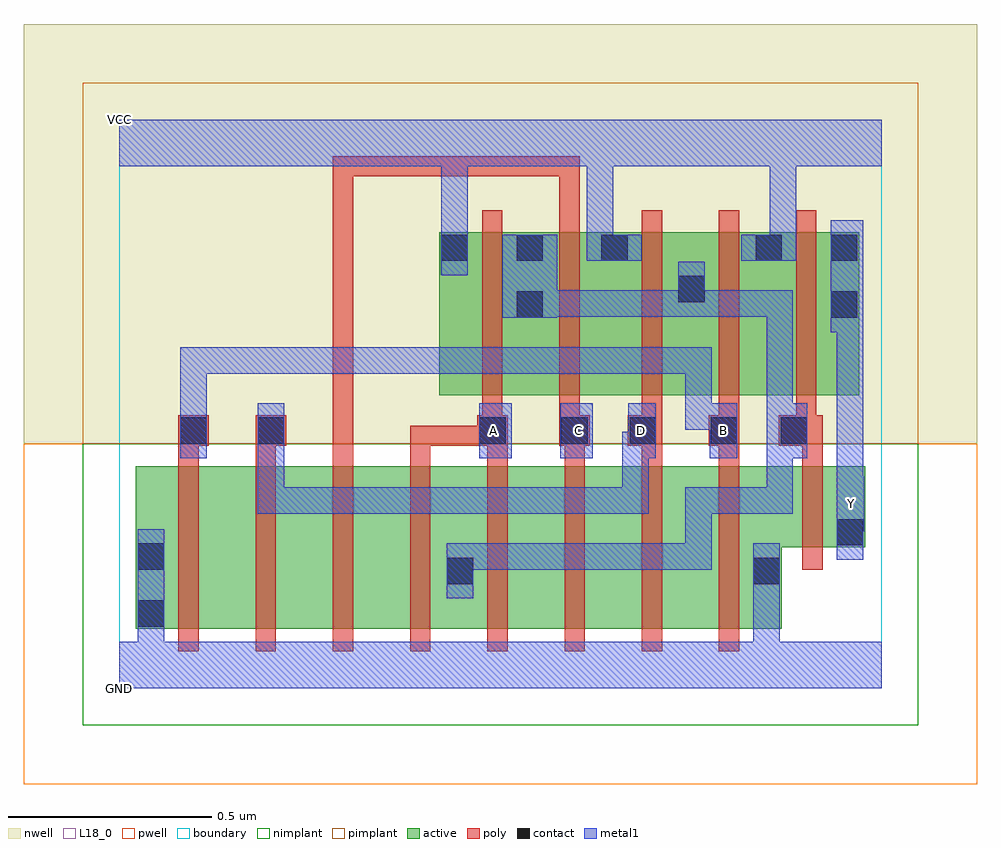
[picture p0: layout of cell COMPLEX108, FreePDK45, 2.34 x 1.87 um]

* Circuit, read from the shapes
.subckt COMPLEX108 A B C D GND VCC Y
M1 n1 B GND VSUBS nfet w=0.4u l=0.05u
M2 n2 D n1 VSUBS nfet w=0.4u l=0.05u
M3 n3 C n2 VSUBS nfet w=0.4u l=0.05u
M4 n4 A n3 VSUBS nfet w=0.4u l=0.05u
M5 n5 A n4 VSUBS nfet w=0.4u l=0.05u
M6 n6 C n5 VSUBS nfet w=0.4u l=0.05u
M7 n7 D n6 VSUBS nfet w=0.4u l=0.05u
M8 GND B n7 VSUBS nfet w=0.4u l=0.05u
M9 Y n4 GND VSUBS nfet w=0.2u l=0.05u
M10 n4 A VCC n8 pfet w=0.4u l=0.05u
M11 VCC C n4 n8 pfet w=0.4u l=0.05u
M12 n4 D VCC n8 pfet w=0.4u l=0.05u
M13 VCC B n4 n8 pfet w=0.4u l=0.05u
M14 Y n4 VCC n8 pfet w=0.4u l=0.05u
.ends

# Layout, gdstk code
import gdstk
lib = gdstk.Library(unit=1e-6, precision=1e-09)
def R(c, l, rs):  # rectangles x0, y0, x1, y1
    for r in rs: c.add(gdstk.rectangle(r[:2], r[2:], *l))
def A(c, l, x, y, w, h, nx, ny, dx, dy):  # array of equal rectangles
    R(c, l, [(x+i*dx, y+j*dy, x+i*dx+w, y+j*dy+h) for i in range(nx) for j in range(ny)])
active = (1, 0)
pwell = (2, 0)
nwell = (3, 0)
nimplant = (4, 0)
pimplant = (5, 0)
poly = (9, 0)
contact = (10, 0)
metal1 = (11, 0)
L18_0 = (18, 0)
boundary = (235, 0)

complex108 = lib.new_cell('COMPLEX108')
R(complex108, active, [(0.04,0.147,0.115,0.547), (0.04,0.147,0.265,0.547), (0.265,0.147,0.455,0.547), (0.455,0.147,0.645,0.547), (0.645,0.147,0.875,0.547), (0.8,0.147,1.025,0.547), (0.8,0.147,0.875,0.492), (1.025,0.147,1.215,0.547), (1.215,0.147,1.405,0.547), (1.405,0.147,1.63,0.547), (1.555,0.147,1.63,0.547), (1.555,0.347,1.835,0.547), (1.76,0.347,1.835,0.547), (0.787,0.722,1.047,1.122), (0.972,0.722,1.255,1.122), (1.18,0.722,1.445,1.122), (1.37,0.722,1.635,1.122), (1.56,0.722,1.82,1.122), (1.745,0.722,1.82,1.122), (0.787,0.782,0.862,1.122), (0.972,0.802,1.047,1.122), (1.37,0.802,1.445,1.122), (1.56,0.862,1.635,1.122), (1.18,0.907,1.255,1.122)])
R(complex108, pwell, [(-0.235,-0.235,2.11,0.602)])
R(complex108, nwell, [(-0.235,0.602,2.11,1.635)])
R(complex108, nimplant, [(-0.09,-0.09,1.965,0.602)])
R(complex108, pimplant, [(-0.09,0.602,1.965,1.49)])
A(complex108, poly, 0.145, 0.092, 0.05, 0.51, 8, 1, 0.19, 0)
A(complex108, poly, 0.715, 0.552, 0.05, 0.095, 5, 1, 0.19, 0)
A(complex108, poly, 1.285, 0.622, 0.05, 0.095, 3, 1, 0.19, 0)
A(complex108, poly, 1.285, 0.667, 0.05, 0.51, 3, 1, 0.19, 0)
R(complex108, poly, [(1.68,0.292,1.73,0.602), (0.145,0.552,0.195,0.647), (0.335,0.552,0.385,0.647), (0.525,0.552,0.575,1.31), (1.68,0.552,1.73,0.647), (0.145,0.597,0.22,0.672), (0.335,0.597,0.41,0.672), (0.715,0.597,0.765,0.647), (0.715,0.597,0.93,0.647), (0.88,0.597,0.955,0.672), (0.88,0.597,0.93,0.647), (0.88,0.597,0.93,0.647), (1.082,0.597,1.157,0.672), (1.25,0.597,1.335,0.672), (1.45,0.597,1.525,0.672), (1.622,0.597,1.73,0.672), (0.892,0.622,0.942,0.717), (1.082,0.622,1.132,0.717), (0.892,0.667,0.942,1.177), (1.082,0.667,1.132,1.177), (1.082,1.127,1.132,1.31), (0.525,1.26,0.575,1.31), (0.525,1.26,0.575,1.31), (0.525,1.26,0.575,1.31), (0.525,1.26,0.575,1.31), (0.525,1.26,0.575,1.31), (0.525,1.26,0.737,1.31), (0.687,1.26,0.737,1.31), (0.687,1.26,0.737,1.31), (0.687,1.26,0.737,1.31), (0.687,1.26,0.737,1.31), (0.687,1.26,0.737,1.31), (0.687,1.26,0.737,1.31), (0.687,1.26,0.737,1.31), (0.687,1.26,0.737,1.31), (0.687,1.26,0.737,1.31), (0.687,1.26,0.897,1.31), (0.847,1.26,0.897,1.31), (0.847,1.26,0.897,1.31), (0.847,1.26,0.897,1.31), (0.847,1.26,1.132,1.31), (1.082,1.26,1.132,1.31), (1.082,1.26,1.132,1.31), (1.082,1.26,1.132,1.31)])
R(complex108, contact, [(0.045,0.152,0.11,0.217), (0.805,0.257,0.87,0.322), (1.56,0.257,1.625,0.322), (0.045,0.292,0.11,0.357), (1.765,0.352,1.83,0.417), (0.15,0.602,0.215,0.667), (0.34,0.602,0.405,0.667), (0.885,0.602,0.95,0.667), (1.087,0.602,1.152,0.667), (1.255,0.602,1.32,0.667), (1.455,0.602,1.52,0.667), (1.627,0.602,1.692,0.667), (0.977,0.912,1.042,0.977), (1.75,0.912,1.815,0.977), (1.375,0.95,1.44,1.015), (0.792,1.052,0.857,1.117), (0.977,1.052,1.042,1.117), (1.185,1.052,1.25,1.117), (1.565,1.052,1.63,1.117), (1.75,1.052,1.815,1.117)])
R(complex108, metal1, [(0,0,1.875,0.115), (0.045,0.05,0.11,0.182), (1.56,0.05,1.625,0.287), (0.045,0.117,0.11,0.392), (0.805,0.222,0.87,0.357), (1.56,0.222,1.625,0.357), (0.805,0.292,0.87,0.357), (0.805,0.292,0.87,0.357), (0.805,0.292,1.007,0.357), (0.942,0.292,1.007,0.357), (0.942,0.292,1.007,0.357), (0.942,0.292,1.007,0.357), (0.942,0.292,1.302,0.357), (1.237,0.292,1.302,0.357), (1.237,0.292,1.302,0.357), (1.237,0.292,1.302,0.357), (1.237,0.292,1.457,0.357), (1.392,0.292,1.457,0.357), (1.392,0.292,1.457,0.495), (1.765,0.317,1.83,0.452), (1.765,0.387,1.83,0.452), (1.765,0.387,1.832,0.522), (0.34,0.43,0.405,0.495), (0.34,0.43,0.405,0.632), (0.34,0.43,0.542,0.495), (0.477,0.43,0.542,0.495), (0.477,0.43,0.542,0.495), (0.477,0.43,0.542,0.495), (0.477,0.43,0.68,0.495), (0.615,0.43,0.68,0.495), (0.615,0.43,0.817,0.495), (0.752,0.43,0.817,0.495), (0.752,0.43,0.817,0.495), (0.752,0.43,0.817,0.495), (0.752,0.43,1.077,0.495), (1.012,0.43,1.077,0.495), (1.012,0.43,1.077,0.495), (1.012,0.43,1.077,0.495), (1.012,0.43,1.302,0.495), (1.237,0.43,1.302,0.495), (1.237,0.43,1.302,0.632), (1.392,0.43,1.457,0.495), (1.392,0.43,1.457,0.495), (1.392,0.43,1.457,0.495), (1.392,0.43,1.657,0.495), (1.592,0.43,1.657,0.495), (1.592,0.43,1.657,0.632), (1.765,0.457,1.83,0.942), (0.15,0.567,0.215,0.702), (0.34,0.567,0.405,0.632), (0.34,0.567,0.405,0.632), (0.34,0.567,0.405,0.702), (0.885,0.567,0.965,0.702), (1.085,0.567,1.165,0.702), (1.237,0.567,1.302,0.632), (1.237,0.567,1.317,0.632), (1.252,0.567,1.32,0.702), (1.452,0.567,1.52,0.702), (1.592,0.567,1.657,0.632), (1.592,0.567,1.692,0.632), (1.592,0.567,1.657,0.98), (1.627,0.567,1.692,0.702), (0.15,0.637,0.215,0.702), (0.15,0.637,0.215,0.702), (0.15,0.637,0.215,0.84), (1.392,0.637,1.457,0.702), (1.392,0.637,1.517,0.702), (1.392,0.637,1.457,0.84), (0.15,0.775,0.215,0.84), (0.15,0.775,0.352,0.84), (0.287,0.775,0.352,0.84), (0.287,0.775,0.352,0.84), (0.287,0.775,0.352,0.84), (0.287,0.775,0.542,0.84), (0.477,0.775,0.542,0.84), (0.477,0.775,0.542,0.84), (0.477,0.775,0.542,0.84), (0.477,0.775,0.68,0.84), (0.615,0.775,0.68,0.84), (0.615,0.775,0.817,0.84), (0.752,0.775,0.817,0.84), (0.752,0.775,0.817,0.84), (0.752,0.775,0.817,0.84), (0.752,0.775,1.077,0.84), (1.012,0.775,1.077,0.84), (1.012,0.775,1.077,0.84), (1.012,0.775,1.077,0.84), (1.012,0.775,1.302,0.84), (1.237,0.775,1.302,0.84), (1.237,0.775,1.302,0.84), (1.237,0.775,1.302,0.84), (1.237,0.775,1.457,0.84), (1.392,0.775,1.457,0.84), (1.75,0.877,1.83,1.152), (0.942,0.912,1.077,1.117), (1.012,0.915,1.077,0.98), (1.012,0.915,1.077,0.98), (1.012,0.915,1.302,0.98), (1.237,0.915,1.302,0.98), (1.237,0.915,1.302,0.98), (1.237,0.915,1.302,0.98), (1.237,0.915,1.44,0.98), (1.375,0.915,1.44,1.05), (1.375,0.915,1.555,0.98), (1.49,0.915,1.555,0.98), (1.49,0.915,1.657,0.98), (1.592,0.915,1.657,0.98), (1.592,0.915,1.657,0.98), (1.592,0.915,1.657,0.98), (0.792,1.017,0.857,1.152), (1.15,1.052,1.215,1.35), (1.15,1.052,1.285,1.117), (1.53,1.052,1.665,1.117), (1.6,1.052,1.665,1.117), (1.6,1.052,1.665,1.117), (1.6,1.052,1.665,1.35), (0.792,1.087,0.857,1.152), (0.792,1.087,0.857,1.152), (0.792,1.087,0.857,1.35), (0,1.285,1.875,1.4), (1.15,1.285,1.215,1.35), (1.15,1.285,1.215,1.35)])
R(complex108, L18_0, [(0,0,1.875,0.115), (0.045,0.05,0.11,0.182), (1.56,0.05,1.625,0.287), (0.045,0.117,0.11,0.392), (1.56,0.222,1.625,0.357), (1.765,0.317,1.83,0.452), (1.765,0.387,1.83,0.452), (1.765,0.387,1.832,0.522), (1.767,0.422,1.832,0.487), (0.34,0.43,0.405,0.495), (0.34,0.43,0.542,0.495), (0.34,0.43,0.405,0.632), (0.477,0.43,0.542,0.495), (0.477,0.43,0.542,0.495), (0.477,0.43,0.542,0.495), (0.477,0.43,0.68,0.495), (0.615,0.43,0.68,0.495), (0.615,0.43,0.817,0.495), (0.752,0.43,0.817,0.495), (0.752,0.43,0.817,0.495), (0.752,0.43,0.817,0.495), (0.752,0.43,1.077,0.495), (1.012,0.43,1.077,0.495), (1.012,0.43,1.077,0.495), (1.012,0.43,1.077,0.495), (1.012,0.43,1.302,0.495), (1.237,0.43,1.302,0.495), (1.237,0.43,1.302,0.632), (1.765,0.457,1.83,0.942), (0.15,0.567,0.215,0.702), (0.34,0.567,0.405,0.702), (0.34,0.567,0.405,0.632), (0.34,0.567,0.405,0.632), (0.885,0.567,0.965,0.702), (1.085,0.567,1.165,0.702), (1.237,0.567,1.302,0.632), (1.237,0.567,1.317,0.632), (1.252,0.567,1.32,0.702), (1.452,0.567,1.52,0.702), (0.887,0.602,0.952,0.667), (1.097,0.602,1.162,0.667), (1.252,0.602,1.317,0.667), (1.452,0.602,1.517,0.667), (0.15,0.637,0.215,0.702), (0.15,0.637,0.215,0.702), (0.15,0.637,0.215,0.84), (1.392,0.637,1.457,0.702), (1.392,0.637,1.457,0.84), (1.392,0.637,1.517,0.702), (0.15,0.775,0.215,0.84), (0.15,0.775,0.352,0.84), (0.287,0.775,0.352,0.84), (0.287,0.775,0.352,0.84), (0.287,0.775,0.352,0.84), (0.287,0.775,0.542,0.84), (0.477,0.775,0.542,0.84), (0.477,0.775,0.542,0.84), (0.477,0.775,0.542,0.84), (0.477,0.775,0.68,0.84), (0.615,0.775,0.68,0.84), (0.615,0.775,0.817,0.84), (0.752,0.775,0.817,0.84), (0.752,0.775,0.817,0.84), (0.752,0.775,0.817,0.84), (0.752,0.775,1.077,0.84), (1.012,0.775,1.077,0.84), (1.012,0.775,1.077,0.84), (1.012,0.775,1.077,0.84), (1.012,0.775,1.302,0.84), (1.237,0.775,1.302,0.84), (1.237,0.775,1.302,0.84), (1.237,0.775,1.302,0.84), (1.237,0.775,1.457,0.84), (1.392,0.775,1.457,0.84), (1.75,0.877,1.83,1.152), (0.792,1.017,0.857,1.152), (1.15,1.052,1.285,1.117), (1.15,1.052,1.215,1.35), (1.53,1.052,1.665,1.117), (1.6,1.052,1.665,1.117), (1.6,1.052,1.665,1.117), (1.6,1.052,1.665,1.35), (0.792,1.087,0.857,1.152), (0.792,1.087,0.857,1.152), (0.792,1.087,0.857,1.35), (0,1.285,1.875,1.4), (1.15,1.285,1.215,1.35), (1.15,1.285,1.215,1.35)])
R(complex108, boundary, [(0,0,1.875,1.4)])
complex108.add(gdstk.Label('A', (0.92,0.635), layer=11, texttype=0))
complex108.add(gdstk.Label('B', (1.485,0.635), layer=11, texttype=0))
complex108.add(gdstk.Label('C', (1.13,0.635), layer=11, texttype=0))
complex108.add(gdstk.Label('D', (1.285,0.635), layer=11, texttype=0))
complex108.add(gdstk.Label('Y', (1.8,0.455), layer=11, texttype=0))
complex108.add(gdstk.Label('VCC', (0,1.4), layer=11, texttype=0))
complex108.add(gdstk.Label('GND', (0,0), layer=11, texttype=0))

lib.write_gds('COMPLEX108.gds')
